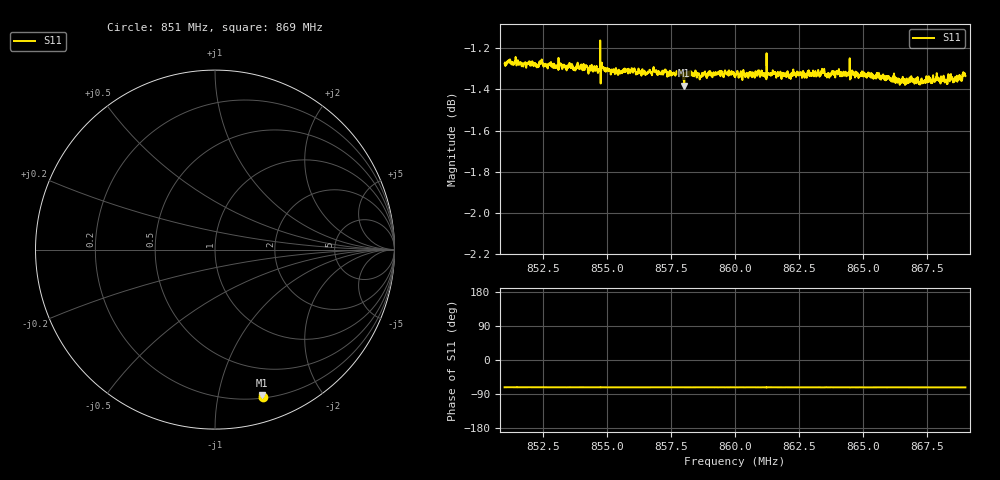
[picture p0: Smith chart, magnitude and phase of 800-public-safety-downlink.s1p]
! Calibrated averaged scanner-service zoom
# Hz S RI R 50
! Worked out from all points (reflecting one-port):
!   2001 points, 851 MHz to 869 MHz, reference 50 ohm
!   lowest |S11| = -1.4 dB at 858.02 MHz (marker M1), VSWR 12.60, Z = 11.3 - j67.6 ohm
!   phase of S11 starts at -72 deg and turns -0 deg over the sweep
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8.51e8  0.2669 -0.8213
8.51153e8  0.2713 -0.8216
8.51963e8  0.2693 -0.821
8.5325e8  0.2661 -0.8187
8.54825e8  0.2649 -0.8196
8.555e8  0.2646 -0.8169
8.56022e8  0.2649 -0.8177
8.56418e8  0.2644 -0.8173
8.56859e8  0.2632 -0.8185
8.57039e8  0.2643 -0.8168
8.5775e8  0.2657 -0.8169
8.5802e8  0.2632 -0.8113
8.58245e8  0.2637 -0.8173
8.58695e8  0.2637 -0.8156
8.6e8  0.2642 -0.8161
8.61314e8  0.2643 -0.8171
8.61521e8  0.2649 -0.8166
8.6225e8  0.2645 -0.8157
8.6252e8  0.2653 -0.8174
8.6342e8  0.2631 -0.8176
8.63609e8  0.2632 -0.8157
8.63861e8  0.2637 -0.8174
8.645e8  0.2641 -0.816
8.6675e8  0.2629 -0.813
8.67632e8  0.2616 -0.8154
8.67821e8  0.2602 -0.8155
8.68208e8  0.2606 -0.8142
8.69e8  0.2612 -0.8168
